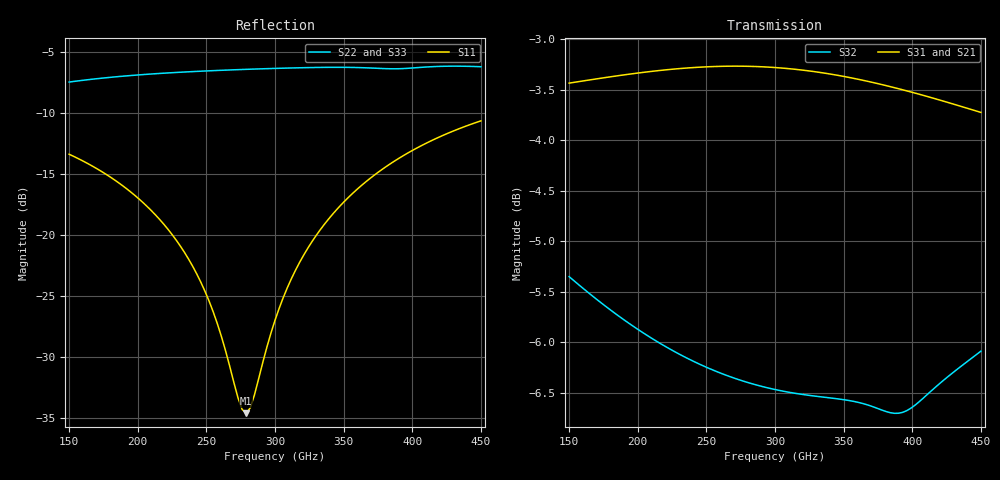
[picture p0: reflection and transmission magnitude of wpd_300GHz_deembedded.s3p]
! Created with skrf 2.0.1 (http://scikit-rf.org).
# GHz S DB R 50.0
!freq dBS11 angS11 dBS12 angS12 dBS13 angS13
! dBS21 angS21 dBS22 angS22 dBS23 angS23
! dBS31 angS31 dBS32 angS32 dBS33 angS33
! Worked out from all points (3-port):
!   101 points, 150 GHz to 450 GHz, reference 50 ohm
!   strongest paths, dB at 150 GHz, 225 GHz, 300 GHz, 375 GHz, 450 GHz:
!     S31: -3.4, -3.3, -3.3, -3.4, -3.7
!     S21: -3.4, -3.3, -3.3, -3.4, -3.7
!     S32: -5.3, -6.1, -6.5, -6.7, -6.1
!   lowest |S11| = -34.6 dB at 279 GHz (marker M1), VSWR 1.04, Z = 48.4 - j0.803 ohm
!   |S11| at or under -10 dB: start of sweep to end of sweep
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150  -13.36 149.3  -3.44 -40.6  -3.44 -40.5
     -3.44 -40.6  -7.45 56.4  -5.35 -96.9
     -3.44 -40.5  -5.35 -96.9  -7.46 56.4
195  -16.47 141.5  -3.35 -53.3  -3.35 -53.3
     -3.35 -53.3  -6.91 36.2  -5.82 -122.7
     -3.35 -53.3  -5.82 -122.7  -6.93 36.2
231  -20.88 138.0  -3.30 -63.8  -3.29 -63.8
     -3.30 -63.8  -6.64 22.6  -6.12 -142.7
     -3.29 -63.8  -6.12 -142.7  -6.66 22.6
252  -25.40 141.5  -3.28 -70.0  -3.27 -70.0
     -3.28 -70.0  -6.53 15.4  -6.26 -154.2
     -3.27 -70.0  -6.26 -154.2  -6.54 15.4
279  -34.59 -153.6  -3.28 -78.0  -3.27 -78.0
     -3.28 -78.0  -6.41 6.7  -6.39 -168.9
     -3.27 -78.0  -6.39 -168.9  -6.42 6.7
300  -26.97 -94.6  -3.29 -84.2  -3.28 -84.2
     -3.29 -84.2  -6.33 0.1  -6.47 179.7
     -3.28 -84.2  -6.47 179.7  -6.35 0.1
324  -21.04 -87.7  -3.32 -91.4  -3.31 -91.4
     -3.32 -91.4  -6.26 -7.3  -6.52 166.7
     -3.31 -91.4  -6.52 166.7  -6.28 -7.3
354  -16.84 -90.0  -3.38 -100.2  -3.38 -100.3
     -3.38 -100.2  -6.25 -16.7  -6.57 150.3
     -3.38 -100.3  -6.57 150.3  -6.26 -16.7
396  -13.31 -97.0  -3.51 -112.5  -3.51 -112.5
     -3.51 -112.5  -6.33 -28.6  -6.67 128.8
     -3.51 -112.5  -6.67 128.8  -6.34 -28.7
450  -10.63 -107.4  -3.72 -127.8  -3.73 -127.8
     -3.72 -127.8  -6.19 -48.4  -6.09 99.7
     -3.73 -127.8  -6.09 99.7  -6.19 -48.5
